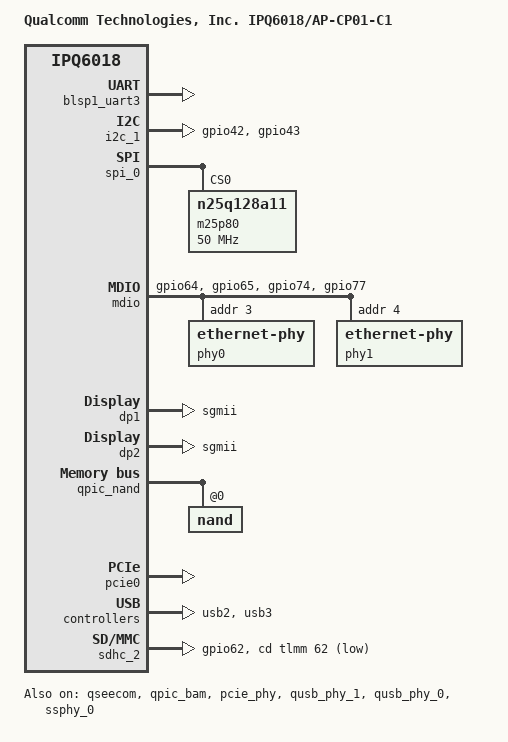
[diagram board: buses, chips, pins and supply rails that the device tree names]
// SPDX-License-Identifier: (GPL-2.0+ OR BSD-3-Clause)
/*
 * IPQ6018 CP01 board device tree source
 *
 * Copyright (c) 2019-2020 The Linux Foundation. All rights reserved.
 */

/dts-v1/;

#include "ipq6018.dtsi"

/ {
	model = "Qualcomm Technologies, Inc. IPQ6018/AP-CP01-C1";
	compatible = "qcom,ipq6018-ap-cp01-c1", "qcom,ipq6018";

	aliases {
		serial0 = &blsp1_uart3;
	};

	chosen {
		stdout-path = "serial0:115200n8";
		bootargs-append = " swiotlb=1";
	};

	/*
	* +=========+==============+========================+
	* |        |              |                         |
	* | Region | Start Offset |          Size           |
	* |        |              |                         |
	* +--------+--------------+-------------------------+
	* |        |              |                         |
	* |        |              |                         |
	* |        |              |                         |
	* |        |              |                         |
	* | Linux  |  0x41000000  |         139MB           |
	* |        |              |                         |
	* |        |              |                         |
	* |        |              |                         |
	* +--------+--------------+-------------------------+
	* | TZ App |  0x49B00000  |           6MB           |
	* +--------+--------------+-------------------------+
	*
	* From the available 145 MB for Linux in the first 256 MB,
	* we are reserving 6 MB for TZAPP.
	*
	* Refer arch/arm64/boot/dts/qcom/ipq6018-memory.dtsi
	* for memory layout.
	*/

	/* TZApp is enabled in default memory profile only. */
	/* This below reservation must be updated when LM support is added. */
	reserved-memory {
		tzapp:tzapp@49B00000 {  /* TZAPPS */
			no-map;
			reg = <0x0 0x49B00000 0x0 0x00600000>;
		};
	};
};

&qseecom {
		mem-start = <0x49B00000>;
		mem-size = <0x600000>;
		status = "ok";
};

&blsp1_uart3 {
	pinctrl-0 = <&serial_3_pins>;
	pinctrl-names = "default";
	status = "ok";
};

&i2c_1 {
	pinctrl-0 = <&i2c_1_pins>;
	pinctrl-names = "default";
	status = "ok";
};

&spi_0 {
	cs-select = <0>;
	status = "ok";

	m25p80@0 {
		#address-cells = <1>;
		#size-cells = <1>;
		reg = <0>;
		compatible = "n25q128a11";
		spi-max-frequency = <50000000>;
	};
};

&tlmm {
	i2c_1_pins: i2c-1-pins {
		pins = "gpio42", "gpio43";
		function = "blsp2_i2c";
		drive-strength = <8>;
	};

	spi_0_pins: spi-0-pins {
		pins = "gpio38", "gpio39", "gpio40", "gpio41";
		function = "blsp0_spi";
		drive-strength = <8>;
		bias-pull-down;
	};

	sd_pins: sd-pinmux {
		pins = "gpio62";
		function = "sd_card";
		drive-strength = <8>;
		bias-pull-up;
	};

	mdio_pins: mdio_pinmux {
		mux_0 {
			pins = "gpio64";
			function = "mdc";
			drive-strength = <8>;
			bias-pull-up;
		};
		mux_1 {
			pins = "gpio65";
			function = "mdio";
			drive-strength = <8>;
			bias-pull-up;
		};
		mux_2 {
			pins = "gpio74";
			function = "gpio";
			bias-pull-up;
		};
		mux_3 {
			pins = "gpio77";
			function = "gpio";
			bias-pull-up;
		};
	};
};

&soc {
	mdio: mdio@90000 {
		pinctrl-0 = <&mdio_pins>;
		pinctrl-names = "default";
		phy-reset-gpio = <&tlmm 75 0 &tlmm 77 1>;
		status = "ok";
		phy0: ethernet-phy@0 {
			reg = <3>;
		};
		phy1: ethernet-phy@1 {
			reg = <4>;
		};
	};

	dp1 {
		device_type = "network";
		compatible = "qcom,nss-dp";
		qcom,id = <4>;
		reg = <0x3a001400 0x200>;
		qcom,mactype = <0>;
		local-mac-address = [000000000000];
		qcom,link-poll = <1>;
		qcom,phy-mdio-addr = <3>;
		phy-mode = "sgmii";
	};

	dp2 {
		device_type = "network";
		compatible = "qcom,nss-dp";
		qcom,id = <3>;
		reg = <0x3a001600 0x200>;
		qcom,mactype = <0>;
		local-mac-address = [000000000000];
		qcom,link-poll = <1>;
		qcom,phy-mdio-addr = <4>;
		phy-mode = "sgmii";
	};

	ess-switch@3a000000 {
		switch_cpu_bmp = <0x1>;  /* cpu port bitmap */
		switch_lan_bmp = <0x18>; /* lan port bitmap */
		switch_wan_bmp = <0x20>; /* wan port bitmap */
		switch_inner_bmp = <0xc0>; /*inner port bitmap*/
		switch_mac_mode = <0x0>; /* mac mode for uniphy instance0*/
		switch_mac_mode1 = <0xf>; /* mac mode for uniphy instance1*/
		switch_mac_mode2 = <0xff>; /* mac mode for uniphy instance2*/
		qcom,port_phyinfo {
			port@3 {
				port_id = <4>;
				phy_address = <3>;
			};
			port@4 {
				port_id = <3>;
				phy_address = <4>;
			};
		};
	};
};

&qpic_bam {
	status = "ok";
};

&qpic_nand {
	status = "ok";

	nand@0 {
		reg = <0>;
		#address-cells = <1>;
		#size-cells = <1>;

		nand-ecc-strength = <4>;
		nand-ecc-step-size = <512>;
		nand-bus-width = <8>;
	};
};

&pcie_phy {
	status = "ok";
};

&pcie0 {
	perst-gpio = <&tlmm 60 1>;

	status = "ok";
};

&qusb_phy_1 {
	status = "ok";
};

&usb2 {
	status = "ok";
};

&sdhc_2 {
	pinctrl-0 = <&sd_pins>;
	pinctrl-names = "default";
	cd-gpios = <&tlmm 62 GPIO_ACTIVE_LOW>;
	status = "ok";
};

&qusb_phy_0 {
	status = "ok";
};

&ssphy_0 {
	status = "ok";
};

&usb3 {
	status = "ok";
};
